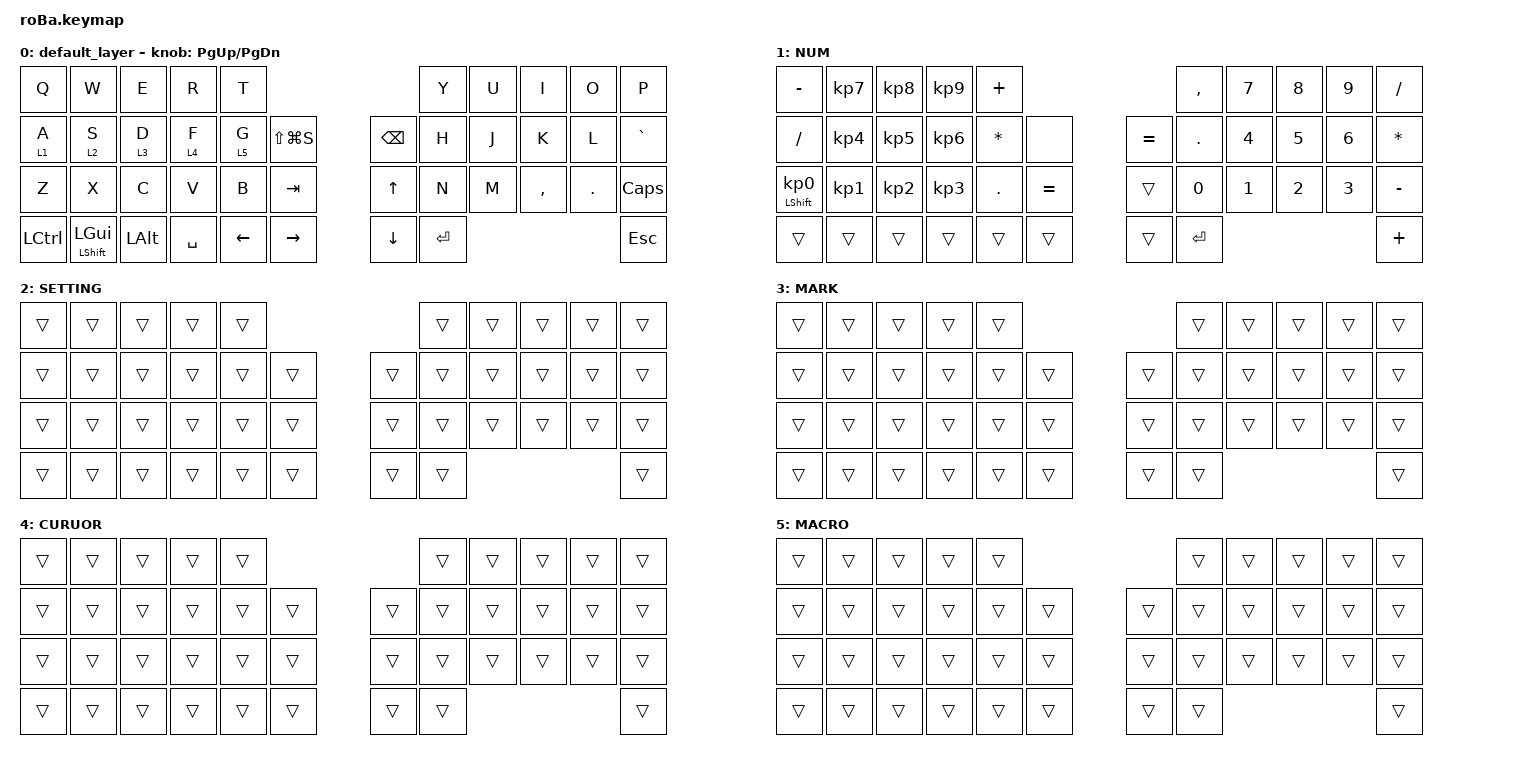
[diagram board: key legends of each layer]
#include <behaviors.dtsi>
#include <dt-bindings/zmk/keys.h>

#define MOUSE 4
#define SCROLL 5
#define NUM 6

&mt {
    flavor = "balanced";
    quick-tap-ms = <0>;
};

/ {
    combos {
        compatible = "zmk,combos";

        tab {
            bindings = <&kp TAB>;
            key-positions = <11 12>;
        };

        shift_tab {
            bindings = <&kp LS(TAB)>;
            key-positions = <12 13>;
        };

        muhennkann {
            bindings = <&to_layer_0 INT_MUHENKAN>;
            key-positions = <11 10>;
        };

        double_quotation {
            bindings = <&kp DOUBLE_QUOTES>;
            key-positions = <20 21>;
        };

        eq {
            bindings = <&kp EQUAL>;
            key-positions = <24 25>;
        };
    };

    macros {
        to_layer_0: to_layer_0 {
            compatible = "zmk,behavior-macro-one-param";
            #binding-cells = <1>;
            bindings = <&to 0 &macro_param_1to1 &kp MACRO_PLACEHOLDER>;
            label = "TO_LAYER_0";
        };
    };

    behaviors {
        lt_to_layer_0: lt_to_layer_0 {
            compatible = "zmk,behavior-hold-tap";
            label = "LAYER_TAP_TO_0";
            bindings = <&mo>, <&to_layer_0>;

            #binding-cells = <2>;
            tapping-term-ms = <200>;
        };
    };

    keymap {
        compatible = "zmk,keymap";

        default_layer {
            bindings = <
&kp Q      &kp W                    &kp E         &kp R      &kp T                                                &kp Y      &kp U  &kp I      &kp O    &kp P
&lt 1 A    &lt 2 S                  &lt 3 D       &lt 4 F    &lt 5 G         &kp LS(LG(S))        &kp BACKSPACE   &kp H      &kp J  &kp K      &kp L    &kp GRAVE
&kp Z      &kp X                    &kp C         &kp V      &kp B           &kp TAB              &kp UP_ARROW    &kp N      &kp M  &kp COMMA  &kp DOT  &kp CAPSLOCK
&kp LCTRL  &mt LEFT_SHIFT LEFT_GUI  &kp LEFT_ALT  &kp SPACE  &kp LEFT_ARROW  &kp RIGHT_ARROW      &kp DOWN_ARROW  &kp ENTER                             &kp ESCAPE
            >;

            sensor-bindings = <&inc_dec_kp PG_UP PAGE_DOWN>;
        };

        NUM {
            bindings = <
&kp MINUS                   &kp KP_NUMBER_7  &kp KP_NUMBER_8  &kp KP_NUMBER_9  &kp PLUS                                &kp COMMA     &kp NUMBER_7  &kp NUMBER_8  &kp NUMBER_9  &kp SLASH
&kp SLASH                   &kp KP_NUMBER_4  &kp KP_NUMBER_5  &kp KP_NUMBER_6  &kp ASTERISK  &none          &kp EQUAL  &kp DOT       &kp N4        &kp N5        &kp NUMBER_6  &kp ASTERISK
&mt LEFT_SHIFT KP_NUMBER_0  &kp KP_NUMBER_1  &kp KP_NUMBER_2  &kp KP_NUMBER_3  &kp PERIOD    &kp EQUAL      &trans     &kp NUMBER_0  &kp NUMBER_1  &kp NUMBER_2  &kp NUMBER_3  &kp MINUS
&trans                      &trans           &trans           &trans           &trans        &trans         &trans     &kp ENTER                                               &kp PLUS
            >;
        };

        SETTING {
            bindings = <
&trans  &trans  &trans  &trans  &trans                      &trans  &trans  &trans  &trans  &trans
&trans  &trans  &trans  &trans  &trans  &trans      &trans  &trans  &trans  &trans  &trans  &trans
&trans  &trans  &trans  &trans  &trans  &trans      &trans  &trans  &trans  &trans  &trans  &trans
&trans  &trans  &trans  &trans  &trans  &trans      &trans  &trans                          &trans
            >;
        };

        MARK {
            bindings = <
&trans  &trans  &trans  &trans  &trans                      &trans  &trans  &trans  &trans  &trans
&trans  &trans  &trans  &trans  &trans  &trans      &trans  &trans  &trans  &trans  &trans  &trans
&trans  &trans  &trans  &trans  &trans  &trans      &trans  &trans  &trans  &trans  &trans  &trans
&trans  &trans  &trans  &trans  &trans  &trans      &trans  &trans                          &trans
            >;
        };

        CURUOR {
            bindings = <
&trans  &trans  &trans  &trans  &trans                      &trans  &trans  &trans  &trans  &trans
&trans  &trans  &trans  &trans  &trans  &trans      &trans  &trans  &trans  &trans  &trans  &trans
&trans  &trans  &trans  &trans  &trans  &trans      &trans  &trans  &trans  &trans  &trans  &trans
&trans  &trans  &trans  &trans  &trans  &trans      &trans  &trans                          &trans
            >;
        };

        MACRO {
            bindings = <
&trans  &trans  &trans  &trans  &trans                      &trans  &trans  &trans  &trans  &trans
&trans  &trans  &trans  &trans  &trans  &trans      &trans  &trans  &trans  &trans  &trans  &trans
&trans  &trans  &trans  &trans  &trans  &trans      &trans  &trans  &trans  &trans  &trans  &trans
&trans  &trans  &trans  &trans  &trans  &trans      &trans  &trans                          &trans
            >;
        };
    };
};
